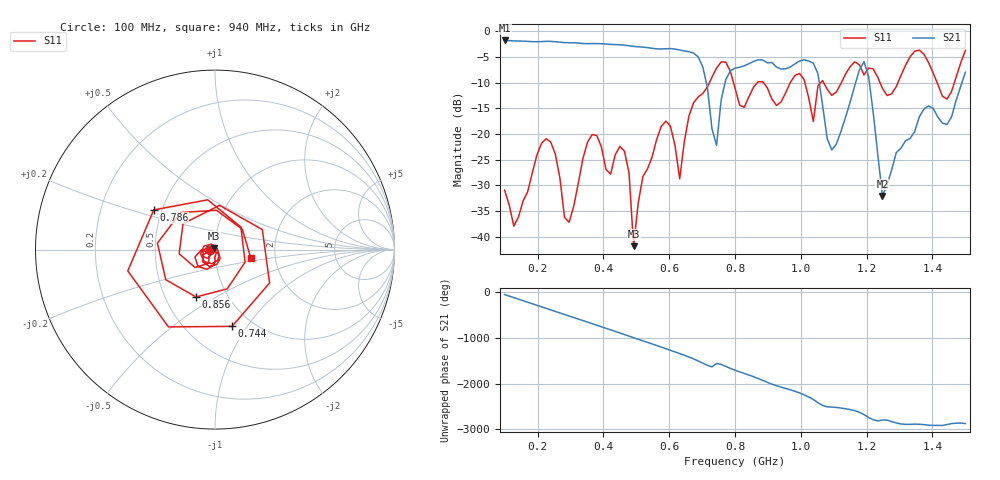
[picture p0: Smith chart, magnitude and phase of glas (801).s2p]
! NanoVNA-App
! Date: 2025-09-25 16:01:42
! Start: 100MHz Stop: 1,5GHz Points: 101
! S-Parameter data: F S11 S21 S12 S22
# Hz S RI R 50
!  Frequency  S11_Real  S11_Imag  S21_Real  S21_Imag  S12_Real  S12_Imag  S22_Real  S22_Imag
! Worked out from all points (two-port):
!   101 points, 100 MHz to 1.5 GHz, reference 50 ohm
!   highest |S21| = -1.80 dB at 100 MHz (marker M1); lowest = -32.1 dB at 1.248 GHz (marker M2)
!   |S21| within 3 dB of the highest: start of sweep to 684.5 MHz
!   lowest |S11| = -41.8 dB at 492 MHz (marker M3), VSWR 1.02, Z = 49.5 + j0.607 ohm
!   |S11| at or under -10 dB: start of sweep to 722.3 MHz; 795.5 MHz to 868 MHz (72.57 MHz wide, 8.73 % of centre); 886.1 MHz to 967.9 MHz (81.82 MHz wide, 8.83 % of centre) (the widest 3 of 7)
!   S12 and S22 are empty: the file has one direction only
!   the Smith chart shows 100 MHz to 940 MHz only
!   S11 on the Smith chart (normalised r, x): 100 MHz: 0.94, -0.01; 744 MHz: 0.81, -0.85; 786 MHz: 0.45, +0.24; 856 MHz: 0.71, -0.41; 940 MHz: 1.49, -0.15
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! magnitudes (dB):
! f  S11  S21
! 100 MHz  -30.9  -1.8
! 128 MHz  -37.9  -1.9
! 226 MHz  -20.9  -2.0
! 296 MHz  -37.2  -2.2
! 338 MHz  -24.7  -2.4
! 464 MHz  -23.3  -2.7
! 492 MHz  -41.8  -3.0
! 576 MHz  -18.5  -3.5
! 632 MHz  -28.7  -3.7
! 702 MHz  -12.1  -6.9
! 744 MHz  -7.2  -22.2
! 786 MHz  -7.8  -7.7
! 800 MHz  -11.0  -7.2
! 856 MHz  -10.9  -5.9
! 940 MHz  -13.8  -7.4
! 996 MHz  -8.2  -5.8
! 1.038 GHz  -17.6  -6.2
! 1.094 GHz  -12.5  -23.1
! 1.192 GHz  -8.5  -5.9
! 1.248 GHz  -11.1  -32.1
! 1.276 GHz  -12.2  -27.0
! 1.5 GHz  -3.7  -8.0
